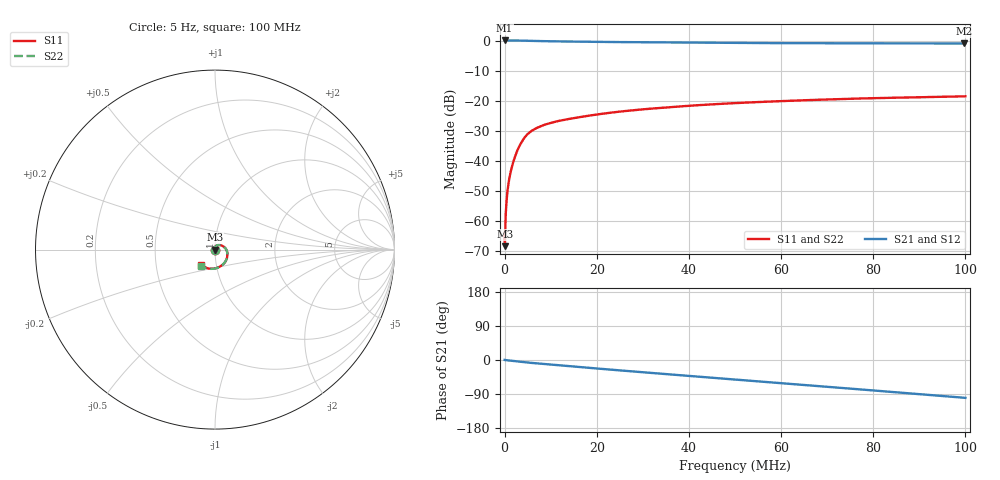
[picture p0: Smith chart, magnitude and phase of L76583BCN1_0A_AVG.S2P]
!Agilent Technologies,E5061B,MY49102235,A.02.00
!Date: Mon Jul 10 16:10:55 2023
!Data & Calibration Information:
!Freq	S11:SOLT2(ON)	S21:SOLT2(ON)	S12:SOLT2(ON)	S22:SOLT2(ON)
# Hz S RI R 50
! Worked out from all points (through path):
!   1600 points, 5 Hz to 100 MHz, reference 50 ohm
!   highest |S21| = 0.01 dB at 5 Hz (marker M1); lowest = -1.0 dB at 99.62 MHz (marker M2)
!   group delay of S21, straight-line fit = 2.71 ns
!   lowest |S11| = -68.5 dB at 62.54 kHz (marker M3), VSWR 1.00, Z = 50 + j0.0372 ohm
!   |S11| at or under -10 dB: start of sweep to end of sweep
!   |S22| runs from -76.5 to -18.5 dB; largest |S21 - S12| = 0.0027
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5  -0.000471 0.000417  1.002 0.00237  1.001 -7.86e-05  -0.000138 -6.04e-05
62544.08  -4.43e-05 0.000372  0.9999 -0.00118  1 -0.00105  3.51e-05 0.000269
375239.5  0.000152 0.00192  0.9999 -0.00849  1 -0.00855  0.00011 0.00188
625395.8  0.000288 0.00317  0.9996 -0.0145  0.999 -0.0141  0.000323 0.00315
813013.1  0.000222 0.00402  1 -0.0187  0.9989 -0.0182  0.000211 0.00396
1063169  0.000345 0.00525  0.9999 -0.0242  1 -0.0245  0.000376 0.00517
1563482  0.000594 0.0077  0.9985 -0.036  0.9989 -0.0358  0.00064 0.00767
2251412  0.00139 0.0114  0.998 -0.0527  0.9978 -0.0518  0.00138 0.0114
3001881  0.00312 0.0158  0.9956 -0.0694  0.9958 -0.0693  0.00308 0.0158
3877428  0.00659 0.0204  0.9912 -0.0904  0.991 -0.0902  0.00647 0.0204
4627897  0.0106 0.0235  0.986 -0.1069  0.9861 -0.1068  0.0105 0.0236
5440905  0.0154 0.0253  0.9801 -0.1234  0.98 -0.1233  0.0153 0.0253
7817390  0.0269 0.0259  0.9636 -0.1667  0.9634 -0.1667  0.0268 0.026
1.11945e7  0.0388 0.0224  0.9413 -0.2235  0.9413 -0.2233  0.0387 0.0225
1.669794e7  0.0517 0.0138  0.9038 -0.311  0.9038 -0.311  0.0518 0.0137
2.439025e7  0.0645 -0.00299  0.8406 -0.4241  0.8408 -0.4241  0.0646 -0.0033
3.333334e7  0.0694 -0.028  0.7549 -0.5395  0.755 -0.5395  0.0696 -0.0286
5.003127e7  0.053 -0.0734  0.5652 -0.7133  0.5655 -0.7134  0.0526 -0.074
6.672921e7  0.0114 -0.1015  0.3438 -0.832  0.3436 -0.832  0.0112 -0.1023
8.33646e7  -0.0353 -0.1051  0.0992 -0.8906  0.0994 -0.8908  -0.0359 -0.1061
9.962477e7  -0.0768 -0.0886  -0.1482 -0.88  -0.1488 -0.8803  -0.0779 -0.0901
1e8  -0.0777 -0.0881  -0.1539 -0.8792  -0.1544 -0.8792  -0.0788 -0.0896
